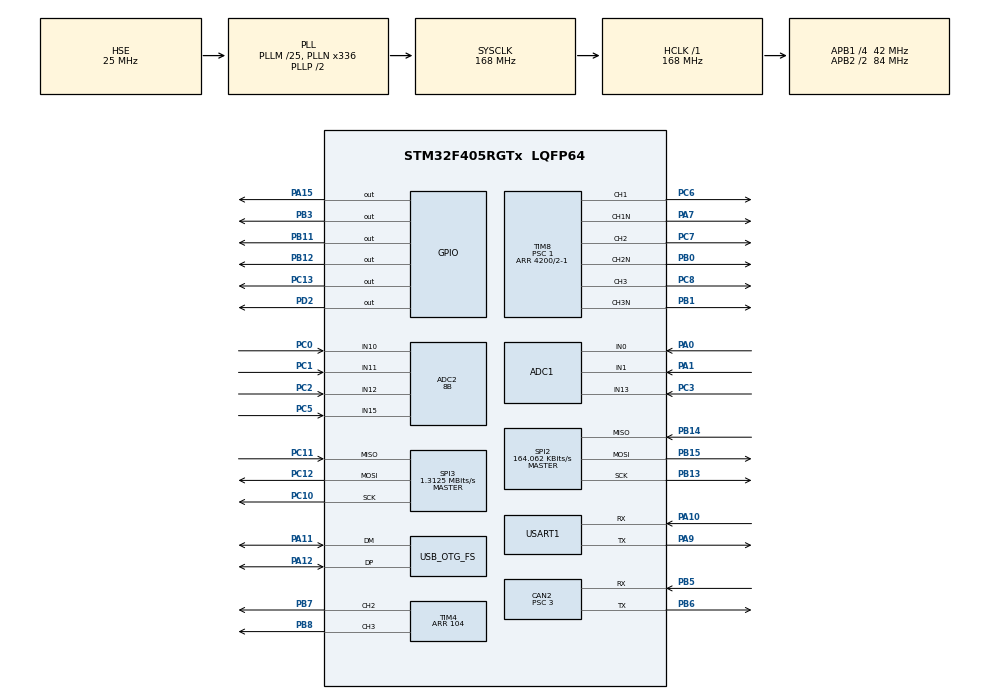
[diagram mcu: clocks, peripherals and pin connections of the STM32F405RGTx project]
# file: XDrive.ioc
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ADC1.Channel-0\#ChannelRegularConversion=ADC_CHANNEL_13
ADC1.Channel-1\#ChannelRegularConversion=ADC_CHANNEL_0
ADC1.Channel-2\#ChannelRegularConversion=ADC_CHANNEL_1
ADC1.ContinuousConvMode=DISABLE
ADC1.DMAContinuousRequests=ENABLE
ADC1.ExternalTrigConv=ADC_EXTERNALTRIGCONV_T8_TRGO
ADC1.ExternalTrigConvEdge=ADC_EXTERNALTRIGCONVEDGE_FALLING
ADC1.InjNumberOfConversion=0
ADC1.NbrOfConversion=3
ADC1.NbrOfConversionFlag=1
ADC1.Rank-0\#ChannelRegularConversion=1
ADC1.Rank-1\#ChannelRegularConversion=2
ADC1.Rank-2\#ChannelRegularConversion=3
ADC1.SamplingTime-0\#ChannelRegularConversion=ADC_SAMPLETIME_3CYCLES
ADC1.SamplingTime-1\#ChannelRegularConversion=ADC_SAMPLETIME_3CYCLES
ADC1.SamplingTime-2\#ChannelRegularConversion=ADC_SAMPLETIME_3CYCLES
ADC1.master=1
ADC2.Channel-0\#ChannelRegularConversion=ADC_CHANNEL_10
ADC2.Channel-1\#ChannelRegularConversion=ADC_CHANNEL_11
ADC2.Channel-2\#ChannelRegularConversion=ADC_CHANNEL_12
ADC2.Channel-3\#ChannelRegularConversion=ADC_CHANNEL_15
ADC2.ClockPrescaler=ADC_CLOCK_SYNC_PCLK_DIV4
ADC2.ContinuousConvMode=DISABLE
ADC2.DMAContinuousRequests=ENABLE
ADC2.NbrOfConversion=4
ADC2.NbrOfConversionFlag=1
ADC2.Rank-0\#ChannelRegularConversion=1
ADC2.Rank-1\#ChannelRegularConversion=2
ADC2.Rank-2\#ChannelRegularConversion=3
ADC2.Rank-3\#ChannelRegularConversion=4
ADC2.Resolution=ADC_RESOLUTION_8B
ADC2.SamplingTime-0\#ChannelRegularConversion=ADC_SAMPLETIME_3CYCLES
ADC2.SamplingTime-1\#ChannelRegularConversion=ADC_SAMPLETIME_3CYCLES
ADC2.SamplingTime-2\#ChannelRegularConversion=ADC_SAMPLETIME_3CYCLES
ADC2.SamplingTime-3\#ChannelRegularConversion=ADC_SAMPLETIME_3CYCLES
ADC2.ScanConvMode=ENABLE
CAN2.BS1=CAN_BS1_9TQ
CAN2.BS2=CAN_BS2_4TQ
CAN2.CalculateBaudRate=1000000
CAN2.CalculateTimeBit=1000
CAN2.CalculateTimeQuantum=71.42857142857143
CAN2.Prescaler=3
Dma.ADC1.2.Direction=DMA_PERIPH_TO_MEMORY
Dma.ADC1.2.FIFOMode=DMA_FIFOMODE_DISABLE
Dma.ADC1.2.Instance=DMA2_Stream0
Dma.ADC1.2.MemDataAlignment=DMA_MDATAALIGN_HALFWORD
Dma.ADC1.2.MemInc=DMA_MINC_ENABLE
Dma.ADC1.2.Mode=DMA_CIRCULAR
Dma.ADC1.2.PeriphDataAlignment=DMA_PDATAALIGN_HALFWORD
Dma.ADC1.2.PeriphInc=DMA_PINC_DISABLE
Dma.ADC1.2.Priority=DMA_PRIORITY_HIGH
Dma.ADC2.7.Direction=DMA_PERIPH_TO_MEMORY
Dma.ADC2.7.FIFOMode=DMA_FIFOMODE_DISABLE
Dma.ADC2.7.Instance=DMA2_Stream2
Dma.ADC2.7.MemDataAlignment=DMA_MDATAALIGN_BYTE
Dma.ADC2.7.MemInc=DMA_MINC_ENABLE
Dma.ADC2.7.Mode=DMA_NORMAL
Dma.ADC2.7.PeriphDataAlignment=DMA_PDATAALIGN_BYTE
Dma.ADC2.7.PeriphInc=DMA_PINC_DISABLE
Dma.ADC2.7.Priority=DMA_PRIORITY_LOW
Dma.Request0=USART1_TX
Dma.Request1=USART1_RX
Dma.Request2=ADC1
Dma.Request3=SPI3_RX
Dma.Request4=SPI3_TX
Dma.Request5=TIM4_CH2
Dma.Request6=TIM4_CH3
Dma.Request7=ADC2
Dma.SPI3_RX.3.Direction=DMA_PERIPH_TO_MEMORY
Dma.SPI3_RX.3.FIFOMode=DMA_FIFOMODE_DISABLE
Dma.SPI3_RX.3.Instance=DMA1_Stream0
Dma.SPI3_RX.3.MemDataAlignment=DMA_MDATAALIGN_HALFWORD
Dma.SPI3_RX.3.MemInc=DMA_MINC_ENABLE
Dma.SPI3_RX.3.Mode=DMA_NORMAL
Dma.SPI3_RX.3.PeriphDataAlignment=DMA_PDATAALIGN_HALFWORD
Dma.SPI3_RX.3.PeriphInc=DMA_PINC_DISABLE
Dma.SPI3_RX.3.Priority=DMA_PRIORITY_HIGH
Dma.SPI3_TX.4.Direction=DMA_MEMORY_TO_PERIPH
Dma.SPI3_TX.4.FIFOMode=DMA_FIFOMODE_DISABLE
Dma.SPI3_TX.4.Instance=DMA1_Stream5
Dma.SPI3_TX.4.MemDataAlignment=DMA_MDATAALIGN_HALFWORD
Dma.SPI3_TX.4.MemInc=DMA_MINC_ENABLE
Dma.SPI3_TX.4.Mode=DMA_NORMAL
Dma.SPI3_TX.4.PeriphDataAlignment=DMA_PDATAALIGN_HALFWORD
Dma.SPI3_TX.4.PeriphInc=DMA_PINC_DISABLE
Dma.SPI3_TX.4.Priority=DMA_PRIORITY_HIGH
Dma.TIM4_CH2.5.Direction=DMA_MEMORY_TO_PERIPH
Dma.TIM4_CH2.5.FIFOMode=DMA_FIFOMODE_DISABLE
Dma.TIM4_CH2.5.Instance=DMA1_Stream3
Dma.TIM4_CH2.5.MemDataAlignment=DMA_MDATAALIGN_WORD
Dma.TIM4_CH2.5.MemInc=DMA_MINC_ENABLE
Dma.TIM4_CH2.5.Mode=DMA_NORMAL
Dma.TIM4_CH2.5.PeriphDataAlignment=DMA_PDATAALIGN_WORD
Dma.TIM4_CH2.5.PeriphInc=DMA_PINC_DISABLE
Dma.TIM4_CH2.5.Priority=DMA_PRIORITY_LOW
Dma.TIM4_CH3.6.Direction=DMA_MEMORY_TO_PERIPH
Dma.TIM4_CH3.6.FIFOMode=DMA_FIFOMODE_DISABLE
Dma.TIM4_CH3.6.Instance=DMA1_Stream7
Dma.TIM4_CH3.6.MemDataAlignment=DMA_MDATAALIGN_WORD
Dma.TIM4_CH3.6.MemInc=DMA_MINC_ENABLE
Dma.TIM4_CH3.6.Mode=DMA_NORMAL
Dma.TIM4_CH3.6.PeriphDataAlignment=DMA_PDATAALIGN_WORD
Dma.TIM4_CH3.6.PeriphInc=DMA_PINC_DISABLE
Dma.TIM4_CH3.6.Priority=DMA_PRIORITY_LOW
Dma.USART1_RX.1.Direction=DMA_PERIPH_TO_MEMORY
Dma.USART1_RX.1.FIFOMode=DMA_FIFOMODE_DISABLE
Dma.USART1_RX.1.Instance=DMA2_Stream5
Dma.USART1_RX.1.MemDataAlignment=DMA_MDATAALIGN_BYTE
Dma.USART1_RX.1.MemInc=DMA_MINC_ENABLE
Dma.USART1_RX.1.Mode=DMA_NORMAL
Dma.USART1_RX.1.PeriphDataAlignment=DMA_PDATAALIGN_BYTE
Dma.USART1_RX.1.PeriphInc=DMA_PINC_DISABLE
Dma.USART1_RX.1.Priority=DMA_PRIORITY_LOW
Dma.USART1_TX.0.Direction=DMA_MEMORY_TO_PERIPH
Dma.USART1_TX.0.FIFOMode=DMA_FIFOMODE_DISABLE
Dma.USART1_TX.0.Instance=DMA2_Stream7
Dma.USART1_TX.0.MemDataAlignment=DMA_MDATAALIGN_BYTE
Dma.USART1_TX.0.MemInc=DMA_MINC_ENABLE
Dma.USART1_TX.0.Mode=DMA_NORMAL
Dma.USART1_TX.0.PeriphDataAlignment=DMA_PDATAALIGN_BYTE
Dma.USART1_TX.0.PeriphInc=DMA_PINC_DISABLE
Dma.USART1_TX.0.Priority=DMA_PRIORITY_LOW
Mcu.Family=STM32F4
Mcu.Name=STM32F405RGTx
Mcu.Package=LQFP64
NVIC.CAN2_RX0_IRQn=true\:1\:0\:true\:false\:true\:true\:true\:true
NVIC.DMA1_Stream0_IRQn=true\:0\:0\:false\:false\:true\:false\:true\:true
NVIC.DMA1_Stream3_IRQn=true\:0\:0\:false\:false\:true\:false\:true\:true
NVIC.DMA1_Stream5_IRQn=true\:0\:0\:false\:false\:true\:false\:true\:true
NVIC.DMA1_Stream7_IRQn=true\:0\:0\:false\:false\:true\:false\:true\:true
NVIC.DMA2_Stream0_IRQn=true\:0\:0\:false\:false\:true\:false\:true\:true
NVIC.DMA2_Stream2_IRQn=true\:0\:0\:false\:false\:true\:false\:true\:true
NVIC.DMA2_Stream5_IRQn=true\:0\:0\:false\:false\:true\:false\:true\:true
NVIC.DMA2_Stream7_IRQn=true\:0\:0\:false\:false\:true\:false\:true\:true
NVIC.OTG_FS_IRQn=true\:0\:0\:false\:false\:true\:false\:true\:true
NVIC.PriorityGroup=NVIC_PRIORITYGROUP_4
NVIC.SPI3_IRQn=true\:0\:0\:false\:false\:true\:true\:true\:true
NVIC.TIM8_UP_TIM13_IRQn=true\:10\:0\:true\:false\:true\:true\:true\:true
NVIC.USART1_IRQn=true\:0\:0\:false\:false\:true\:true\:true\:true
PA0-WKUP.Signal=ADCx_IN0
PA1.Signal=ADCx_IN1
PA10.Mode=Asynchronous
PA10.Signal=USART1_RX
PA11.Mode=Device_Only
PA11.Signal=USB_OTG_FS_DM
PA12.Mode=Device_Only
PA12.Signal=USB_OTG_FS_DP
PA13.Mode=Serial_Wire
PA13.Signal=SYS_JTMS-SWDIO
PA14.Mode=Serial_Wire
PA14.Signal=SYS_JTCK-SWCLK
PA15.GPIO_PuPd=GPIO_PULLUP
PA15.GPIO_Speed=GPIO_SPEED_FREQ_MEDIUM
PA15.PinState=GPIO_PIN_SET
PA15.Signal=GPIO_Output
PA7.Mode=PWM Generation1 CH1 CH1N
PA7.Signal=TIM8_CH1N
PA9.Mode=Asynchronous
PA9.Signal=USART1_TX
PB0.Mode=PWM Generation2 CH2 CH2N
PB0.Signal=TIM8_CH2N
PB1.Mode=PWM Generation3 CH3 CH3N
PB1.Signal=TIM8_CH3N
PB11.Signal=GPIO_Output
PB12.GPIO_PuPd=GPIO_PULLUP
PB12.GPIO_Speed=GPIO_SPEED_FREQ_MEDIUM
PB12.PinState=GPIO_PIN_SET
PB12.Signal=GPIO_Output
PB13.GPIO_Speed=GPIO_SPEED_FREQ_HIGH
PB13.Mode=Full_Duplex_Master
PB13.Signal=SPI2_SCK
PB14.GPIO_Speed=GPIO_SPEED_FREQ_HIGH
PB14.Mode=Full_Duplex_Master
PB14.Signal=SPI2_MISO
PB15.GPIO_Speed=GPIO_SPEED_FREQ_HIGH
PB15.Mode=Full_Duplex_Master
PB15.Signal=SPI2_MOSI
PB3.Signal=GPIO_Output
PB5.GPIO_PuPd=GPIO_PULLUP
PB5.Mode=CAN_Activate
PB5.Signal=CAN2_RX
PB6.Mode=CAN_Activate
PB6.Signal=CAN2_TX
PB7.Signal=S_TIM4_CH2
PB8.Signal=S_TIM4_CH3
PC0.Signal=ADCx_IN10
PC1.Signal=ADCx_IN11
PC10.GPIO_Speed=GPIO_SPEED_FREQ_MEDIUM
PC10.Mode=Full_Duplex_Master
PC10.Signal=SPI3_SCK
PC11.GPIO_PuPd=GPIO_PULLUP
PC11.GPIO_Speed=GPIO_SPEED_FREQ_MEDIUM
PC11.Mode=Full_Duplex_Master
PC11.Signal=SPI3_MISO
PC12.GPIO_Speed=GPIO_SPEED_FREQ_MEDIUM
PC12.Mode=Full_Duplex_Master
PC12.Signal=SPI3_MOSI
PC13-ANTI_TAMP.Signal=GPIO_Output
PC2.Signal=ADCx_IN12
PC3.Signal=ADCx_IN13
PC5.Signal=ADCx_IN15
PC6.Signal=S_TIM8_CH1
PC7.Signal=S_TIM8_CH2
PC8.Signal=S_TIM8_CH3
PD2.Signal=GPIO_Output
PH0-OSC_IN.Mode=HSE-External-Oscillator
PH0-OSC_IN.Signal=RCC_OSC_IN
PH1-OSC_OUT.Mode=HSE-External-Oscillator
PH1-OSC_OUT.Signal=RCC_OSC_OUT
ProjectManager.HeapSize=0x400
ProjectManager.StackSize=0x400
ProjectManager.TargetToolchain=MDK-ARM V5.32
RCC.48MHZClocksFreq_Value=48000000
RCC.AHBFreq_Value=168000000
RCC.APB1CLKDivider=RCC_HCLK_DIV4
RCC.APB1Freq_Value=42000000
RCC.APB1TimFreq_Value=84000000
RCC.APB2CLKDivider=RCC_HCLK_DIV2
RCC.APB2Freq_Value=84000000
RCC.APB2TimFreq_Value=168000000
RCC.CortexFreq_Value=168000000
RCC.HCLKFreq_Value=168000000
RCC.HSE_VALUE=25000000
RCC.HSI_VALUE=16000000
RCC.LSE_VALUE=32768
RCC.PLLM=25
RCC.PLLN=336
RCC.PLLQ=7
RCC.SYSCLKFreq_VALUE=168000000
RCC.SYSCLKSource=RCC_SYSCLKSOURCE_PLLCLK
RCC.VCOOutputFreq_Value=336000000
SH.ADCx_IN0.0=ADC1_IN0,IN0
SH.ADCx_IN1.0=ADC1_IN1,IN1
SH.ADCx_IN10.0=ADC2_IN10,IN10
SH.ADCx_IN11.0=ADC2_IN11,IN11
SH.ADCx_IN12.0=ADC2_IN12,IN12
SH.ADCx_IN13.0=ADC1_IN13,IN13
SH.ADCx_IN15.0=ADC2_IN15,IN15
SH.S_TIM4_CH2.0=TIM4_CH2,PWM Generation2 CH2
SH.S_TIM4_CH3.0=TIM4_CH3,PWM Generation3 CH3
SH.S_TIM8_CH1.0=TIM8_CH1,PWM Generation1 CH1 CH1N
SH.S_TIM8_CH2.0=TIM8_CH2,PWM Generation2 CH2 CH2N
SH.S_TIM8_CH3.0=TIM8_CH3,PWM Generation3 CH3 CH3N
SPI2.BaudRatePrescaler=SPI_BAUDRATEPRESCALER_256
SPI2.CLKPhase=SPI_PHASE_2EDGE
SPI2.CLKPolarity=SPI_POLARITY_HIGH
SPI2.CalculateBaudRate=164.062 KBits/s
SPI2.DataSize=SPI_DATASIZE_8BIT
SPI2.Direction=SPI_DIRECTION_2LINES
SPI2.Mode=SPI_MODE_MASTER
SPI2.VirtualType=VM_MASTER
SPI3.BaudRatePrescaler=SPI_BAUDRATEPRESCALER_32
SPI3.CLKPhase=SPI_PHASE_2EDGE
SPI3.CLKPolarity=SPI_POLARITY_HIGH
SPI3.CalculateBaudRate=1.3125 MBits/s
SPI3.DataSize=SPI_DATASIZE_16BIT
SPI3.Direction=SPI_DIRECTION_2LINES
SPI3.Mode=SPI_MODE_MASTER
SPI3.VirtualType=VM_MASTER
STMicroelectronics.X-CUBE-ALGOBUILD.1.4.0.LibraryCcDSPOoLibraryJjDSPOoLibrary=true
TIM4.Channel-PWM\ Generation2\ CH2=TIM_CHANNEL_2
TIM4.Channel-PWM\ Generation3\ CH3=TIM_CHANNEL_3
TIM4.Period=104
TIM8.AutoReloadPreload=TIM_AUTORELOAD_PRELOAD_ENABLE
TIM8.Channel-PWM\ Generation1\ CH1\ CH1N=TIM_CHANNEL_1
TIM8.Channel-PWM\ Generation2\ CH2\ CH2N=TIM_CHANNEL_2
TIM8.Channel-PWM\ Generation3\ CH3\ CH3N=TIM_CHANNEL_3
TIM8.Channel-PWM\ Generation4\ No\ Output=TIM_CHANNEL_4
TIM8.CounterMode=TIM_COUNTERMODE_CENTERALIGNED1
TIM8.DeadTime=4
TIM8.OCMode_PWM-PWM\ Generation4\ No\ Output=TIM_OCMODE_PWM2
TIM8.Period=4200/2-1
TIM8.Prescaler=1
TIM8.RepetitionCounter=0
TIM8.TIM_MasterOutputTrigger=TIM_TRGO_OC4REF
TIM8.TIM_MasterSlaveMode=TIM_MASTERSLAVEMODE_ENABLE
USART1.VirtualMode=VM_ASYNC
USB_DEVICE.APP_RX_DATA_SIZE-CDC_FS=512
USB_DEVICE.APP_TX_DATA_SIZE-CDC_FS=512
USB_DEVICE.CLASS_NAME_FS=CDC
USB_DEVICE.MANUFACTURER_STRING-CDC_FS=wxd
USB_DEVICE.PRODUCT_STRING_CDC_FS=XDr standard
USB_DEVICE.USBD_MAX_STR_DESC_SIZ-CDC_FS=128
USB_DEVICE.VirtualMode-CDC_FS=Cdc
USB_DEVICE.VirtualModeFS=Cdc_FS
USB_OTG_FS.VirtualMode=Device_Only
VP_STMicroelectronics.X-CUBE-ALGOBUILD_VS_DSPOoLibraryJjLibrary_1.4.0_1.4.0.Mode=DSPOoLibraryJjLibrary
VP_TIM4_VS_ClockSourceINT.Mode=Internal
VP_TIM8_VS_ClockSourceINT.Mode=Internal
VP_TIM8_VS_no_output4.Mode=PWM Generation4 No Output
VP_USB_DEVICE_VS_USB_DEVICE_CDC_FS.Mode=CDC_FS
board=custom

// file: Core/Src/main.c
/* USER CODE BEGIN Header */
/**
 ******************************************************************************
 * @file           : main.c
 * @brief          : Main program body
 ******************************************************************************
 * @attention
 *
 * Copyright (c) 2025 STMicroelectronics.
 * All rights reserved.
 *
 * This software is licensed under terms that can be found in the LICENSE file
 * in the root directory of this software component.
 * If no LICENSE file comes with this software, it is provided AS-IS.
 *
 ******************************************************************************
 */
/* USER CODE END Header */
#include "main.h"
#include "adc.h"
#include "can.h"
#include "dma.h"
#include "spi.h"
#include "tim.h"
#include "usart.h"
#include "usb_device.h"
#include "gpio.h"

/* USER CODE BEGIN Includes */
#include "system_statemachine.h"

#ifdef __DEBUG__
#include "math_fast.h"

u32 time_while_zero = 0;
u32 time_while_T = 0;
#endif
/* USER CODE END Includes */

void SystemClock_Config(void);

int main(void)
{

  /* USER CODE BEGIN 1 */
  SCB->CPACR |= (3UL << 20) | (3UL << 22); // Enable CP10 and CP11 for full access
  __DSB();                                 // 数据同步屏障
  __ISB();                                 // 指令同步屏障
  /* USER CODE END 1 */

  /* MCU Configuration--------------------------------------------------------*/

  /* Reset of all peripherals, Initializes the Flash interface and the Systick. */
  HAL_Init();

  /* Configure the system clock */
  SystemClock_Config();

  /* Initialize all configured peripherals */
  MX_GPIO_Init();
  MX_DMA_Init();
  MX_SPI2_Init();
  MX_TIM4_Init();
  MX_ADC1_Init();
  MX_ADC2_Init();
  MX_CAN2_Init();
  MX_SPI3_Init();
  MX_USART1_UART_Init();
  MX_TIM8_Init();
  MX_USB_DEVICE_Init();

  /* Infinite loop */
  while (1)
  {

    /* USER CODE BEGIN 3 */
    SystemStateMachine_run();

#ifdef __DEBUG__ //***********调试************

    time_while_T = HAL_GetTick_us() - time_while_zero;
    time_while_zero = HAL_GetTick_us();
#endif
  }
  /* USER CODE END 3 */
}

void SystemClock_Config(void)
{
  RCC_OscInitTypeDef RCC_OscInitStruct = {0};
  RCC_ClkInitTypeDef RCC_ClkInitStruct = {0};

  /** Configure the main internal regulator output voltage
   */
  __HAL_RCC_PWR_CLK_ENABLE();
  __HAL_PWR_VOLTAGESCALING_CONFIG(PWR_REGULATOR_VOLTAGE_SCALE1);

  /** Initializes the RCC Oscillators according to the specified parameters
   * in the RCC_OscInitTypeDef structure.
   */
  RCC_OscInitStruct.OscillatorType = RCC_OSCILLATORTYPE_HSE;
  RCC_OscInitStruct.HSEState = RCC_HSE_ON;
  RCC_OscInitStruct.PLL.PLLState = RCC_PLL_ON;
  RCC_OscInitStruct.PLL.PLLSource = RCC_PLLSOURCE_HSE;
  RCC_OscInitStruct.PLL.PLLM = 25;
  RCC_OscInitStruct.PLL.PLLN = 336;
  RCC_OscInitStruct.PLL.PLLP = RCC_PLLP_DIV2;
  RCC_OscInitStruct.PLL.PLLQ = 7;
  if (HAL_RCC_OscConfig(&RCC_OscInitStruct) != HAL_OK)
  {
    Error_Handler();
  }

  /** Initializes the CPU, AHB and APB buses clocks
   */
  RCC_ClkInitStruct.ClockType = RCC_CLOCKTYPE_HCLK | RCC_CLOCKTYPE_SYSCLK | RCC_CLOCKTYPE_PCLK1 | RCC_CLOCKTYPE_PCLK2;
  RCC_ClkInitStruct.SYSCLKSource = RCC_SYSCLKSOURCE_PLLCLK;
  RCC_ClkInitStruct.AHBCLKDivider = RCC_SYSCLK_DIV1;
  RCC_ClkInitStruct.APB1CLKDivider = RCC_HCLK_DIV4;
  RCC_ClkInitStruct.APB2CLKDivider = RCC_HCLK_DIV2;

  if (HAL_RCC_ClockConfig(&RCC_ClkInitStruct, FLASH_LATENCY_5) != HAL_OK)
  {
    Error_Handler();
  }
}

/* USER CODE BEGIN 4 */
u8 Error_Index = 0;

/* USER CODE END 4 */

void Error_Handler(void)
{
  /* USER CODE BEGIN Error_Handler_Debug */
  /* User can add his own implementation to report the HAL error return state */
  __disable_irq();
  SystemState_change(SYSTEM_ERROR);
  // while (1)
  // {

  // }
  /* USER CODE END Error_Handler_Debug */
}
